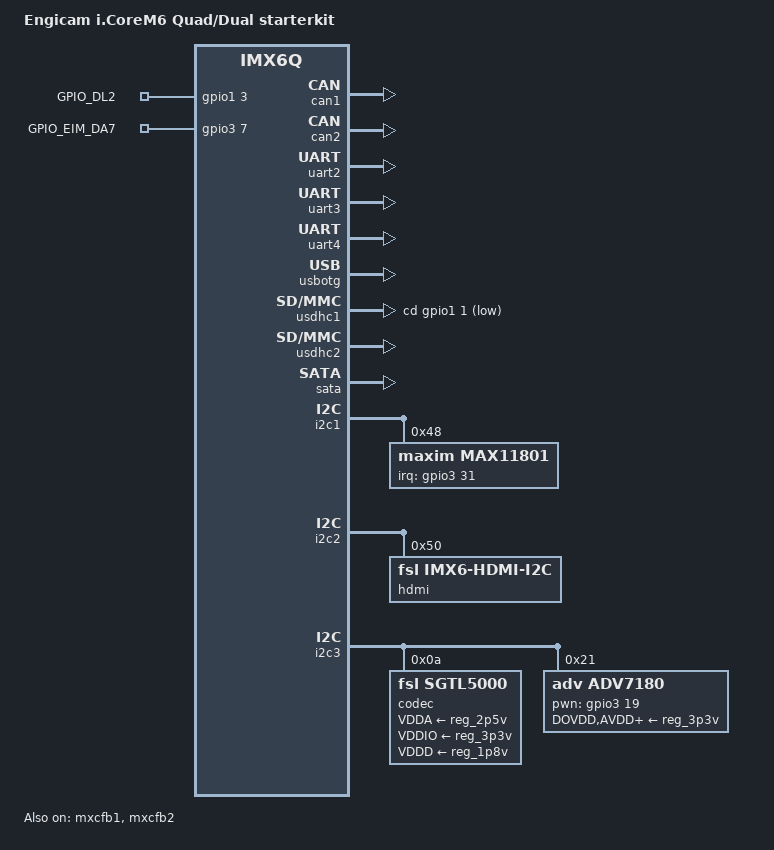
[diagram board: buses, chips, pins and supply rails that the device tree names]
/*
 * Copyright (C) 2013 Freescale Semiconductor, Inc.
 *
 * This program is free software; you can redistribute it and/or modify
 * it under the terms of the GNU General Public License version 2 as
 * published by the Free Software Foundation.
 */

/dts-v1/;

#include "imx6q.dtsi"
#include "imx6qdl-icore.dtsi"

/ {
	model = "Engicam i.CoreM6 Quad/Dual starterkit";
	compatible = "fsl,imx6-icore", "fsl,imx6q";

	gpio_export {
		compatible = "gpio-export";
		#size-cells = <0>;
		GPIO_DL2 {
		        gpio-export,name = "GPIO_DL2";
			gpio-export,output = <1>;
                        gpio-export,direction_may_change;
		        gpios = <&gpio1 3 0>;
		};
		
		GPIO_EIM_DA7 {
			gpio-export,name = "GPIO_EIM_DA7";
			gpio-export,input = <1>;
			gpios = <&gpio3 7 0>;
		};				
	};
};

&ldb {
	ipu_id = <0>;
	sec_ipu_id = <0>;
};

&mxcfb1 {
	status = "okay";
};

&mxcfb2 {
	status = "okay";
};

&can1 {
	status = "okay"; 
};

&can2 {
	status = "okay";
};

&uart2 {
	status = "okay";
};

&uart3 {
	status = "okay";
};

&uart4 {
	status = "okay";
};

&usbotg {
	status = "okay";
};

&usdhc1 {
	cd-gpios = <&gpio1 1 GPIO_ACTIVE_LOW>;
	status = "okay";
};

&usdhc2 {
	pinctrl-assert-gpios = <&gpio1 2 GPIO_ACTIVE_HIGH>;
	status = "okay";
};

&sata {
	status = "okay";
};

&i2c1 {
	max11801@48 {
		compatible = "maxim,max11801";
		reg = <0x48>;
		interrupt-parent = <&gpio3>;
		interrupts = <31 2>;
		work-mode = <0>;/*DCM mode*/		
		pinctrl-names = "default";		
		pinctrl-0 = <&pinctrl_max11801>;
	};

};

&i2c2 {
	hdmi: edid@50 {
		compatible = "fsl,imx6-hdmi-i2c";
		reg = <0x50>;
	};
};


&i2c3 {
	codec: sgtl5000@0a {
		compatible = "fsl,sgtl5000";
		reg = <0x0a>;
		clocks = <&clks 201>;
		VDDA-supply = <&reg_2p5v>;
		VDDIO-supply = <&reg_3p3v>;
		VDDD-supply = <&reg_1p8v>;
	};

	adv7180: adv7180@21 {
		compatible = "adv,adv7180";
		reg = <0x21>;
		pinctrl-names = "default";
		pinctrl-0 = <&pinctrl_ipu1_2>;
		clocks = <&clks 201>;
		clock-names = "csi_mclk";
		DOVDD-supply = <&reg_3p3v>; /* 3.3v, enabled via 2.8 VGEN6 */
		AVDD-supply = <&reg_3p3v>;  /* 1.8v */
		DVDD-supply = <&reg_3p3v>;  /* 1.8v */
		PVDD-supply = <&reg_3p3v>;  /* 1.8v */
		pwn-gpios = <&gpio3 19 0>;
		csi_id = <0>;
		mclk = <24000000>;
		mclk_source = <0>;
		cvbs = <1>;
	};
};

&iomuxc {
	touchpanel{
	  pinctrl_max11801:max11801 {
			fsl,pins = <
			    MX6QDL_PAD_EIM_D31__GPIO3_IO31 0x80000000 /* int for max11801 */
			>;	    
	  };
	};
	
	hog {
		pinctrl_hog: hoggrp {
			fsl,pins = <
				MX6QDL_PAD_GPIO_2__GPIO1_IO02  0x1f059 /* WF111 reset */
				MX6QDL_PAD_GPIO_3__GPIO1_IO03  0x1f059 /* LED DL2*/
				MX6QDL_PAD_EIM_D19__GPIO3_IO19 0x1f059 /* not used pin for ADV7180 driver compatibility */
				MX6QDL_PAD_EIM_DA7__GPIO3_IO07 0x1f059 /* EIM_DA07 forced to GPIO in */
				MX6QDL_PAD_GPIO_1__GPIO1_IO01  0x1f059 /*CD SD CARD*/
			>;
		};
	};
};
